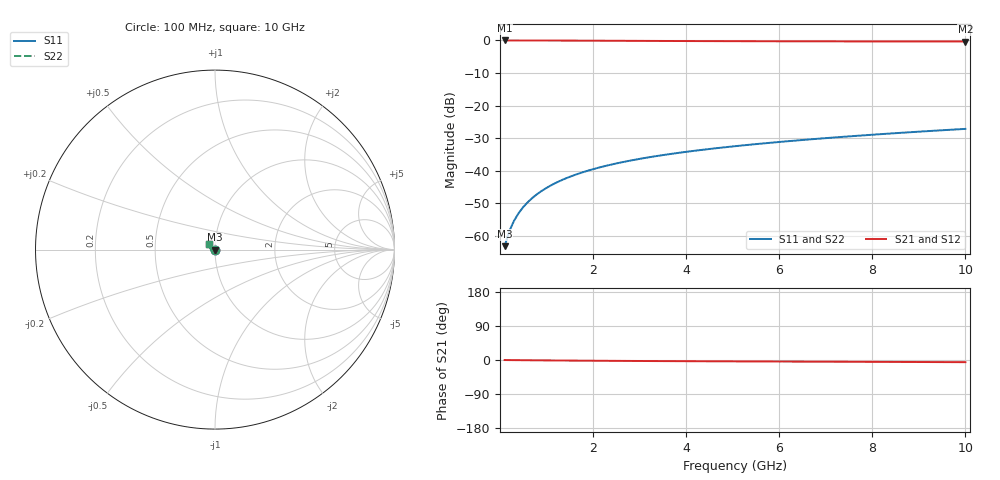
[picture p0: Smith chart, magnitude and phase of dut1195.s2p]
! Touchstone file exported from HFSS 2024.1.0
!  File:  C:/UserFiles/LocalFiles/RDL_TSV_Batchsim/temp_TSV1_1195_1780075932.aedt
!  Generated:  01:38:28 AM May 30, 2026
!  Design:  TSV1
!  Project:  temp_TSV1_1195_1780075932
!  Setup:  Setup1
!  Solution:  Sweep
! Variables:
!  dtsv = 5.81um
!  hbump = 3um
!  htsv = 82.11um
!  lrdl = 252.1521522um
!  p = 40
!  p1 = 56.99um
!  t = 500um
!  trdl = 3um
!  wrdl = 24.89489489um
# GHz S MA R 50.000000
! Terminal data exported
! Port[1] = TSV22_T1
! Port[2] = TSV22_T2
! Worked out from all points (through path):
!   100 points, 100 MHz to 10 GHz, reference 50 ohm
!   highest |S21| = 0.00 dB at 100 MHz (marker M1); lowest = -0.3 dB at 10 GHz (marker M2)
!   lowest |S11| = -63.2 dB at 100 MHz (marker M3), VSWR 1.00, Z = 50 - j0.0562 ohm
!   |S11| at or under -10 dB: start of sweep to end of sweep
!   |S22| runs from -63.2 to -27.2 dB; largest |S21 - S12| = 3.6e-15
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0.1  0.0006885 -54.6  0.9995 -0.1  0.9995 -0.1  0.0006885 -54.6
! Gamma 0 0 0 0
! Port Impedance 50 0 50 0
0.2  0.001164 -74.1  0.9995 -0.2  0.9995 -0.2  0.001164 -74.1
0.3  0.001681 -83.6  0.9993 -0.3  0.9993 -0.3  0.001681 -83.6
0.4  0.00221 -89.8  0.9991 -0.4  0.9991 -0.4  0.00221 -89.8
0.5  0.002744 -94.7  0.9989 -0.5  0.9989 -0.5  0.002744 -94.7
0.6  0.00328 -98.8  0.9986 -0.6  0.9986 -0.6  0.00328 -98.8
0.7  0.003817 -102.5  0.9983 -0.7  0.9983 -0.7  0.003817 -102.5
0.8  0.004353 -105.8  0.9979 -0.9  0.9979 -0.9  0.004353 -105.8
0.9  0.004887 -109.0  0.9975 -1.0  0.9975 -1.0  0.004887 -109.0
1.1  0.005946 -114.9  0.9965 -1.1  0.9965 -1.1  0.005946 -114.9
1.4  0.007506 -123.0  0.9949 -1.4  0.9949 -1.4  0.007506 -123.0
1.6  0.008524 -128.0  0.9937 -1.6  0.9937 -1.6  0.008524 -128.0
1.8  0.009522 -132.9  0.9925 -1.8  0.9925 -1.8  0.009522 -132.9
2.1  0.01098 -139.8  0.9905 -2.0  0.9905 -2.0  0.01098 -139.8
2.5  0.01286 -148.3  0.9879 -2.3  0.9879 -2.3  0.01286 -148.3
2.9  0.01467 -156.1  0.9853 -2.5  0.9853 -2.5  0.01467 -156.1
3.4  0.01686 -165.0  0.9823 -2.8  0.9823 -2.8  0.01686 -165.0
4.2  0.02022 -177.3  0.978 -3.2  0.978 -3.2  0.02022 -177.3
5.1  0.02389 171.2  0.974 -3.7  0.974 -3.7  0.02389 171.2
6.7  0.03031 155.5  0.969 -4.3  0.969 -4.3  0.03031 155.5
8.4  0.03715 143.3  0.9653 -5.1  0.9653 -5.1  0.03715 143.4
10  0.04371 134.7  0.9628 -5.7  0.9628 -5.7  0.04371 134.7
